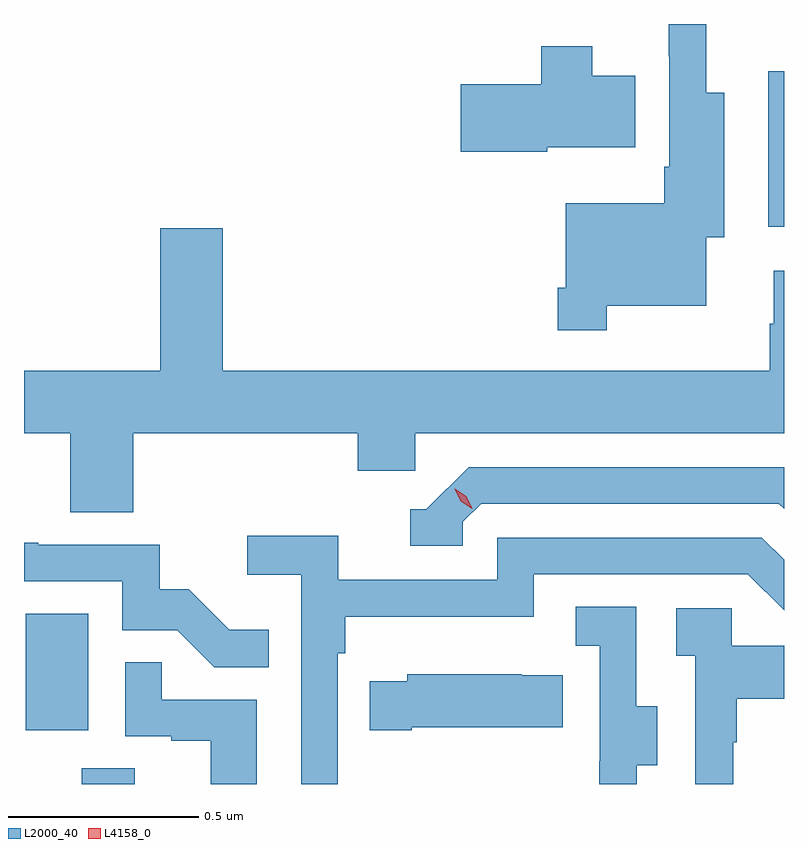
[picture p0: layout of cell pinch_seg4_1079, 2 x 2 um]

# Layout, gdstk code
import gdstk
lib = gdstk.Library(unit=1e-6, precision=1e-09)
def R(c, l, rs):  # rectangles x0, y0, x1, y1
    for r in rs: c.add(gdstk.rectangle(r[:2], r[2:], *l))
def P(c, l, *ps):  # polygons
    for p in ps: c.add(gdstk.Polygon(p, *l))
L2000_40 = (2000, 40)
L4158_0 = (4158, 0)

pinch_seg4_1079 = lib.new_cell('pinch_seg4_1079')
R(pinch_seg4_1079, L2000_40, [(836.129,763.929,836.269,763.97), (835.982,764.07,836.146,764.377), (837.935,765.395,837.977,765.805)])
P(pinch_seg4_1079, L2000_40, [(837.511,765.188),(837.772,765.188),(837.772,765.368),(837.82,765.368),(837.82,765.748),(837.773,765.748),(837.773,765.929),(837.674,765.929),(837.674,765.844),(837.675,765.844),(837.675,765.553),(837.662,765.553),(837.662,765.457),(837.402,765.457),(837.402,765.235),(837.382,765.235),(837.382,765.123),(837.511,765.123)],
  [(837.354,765.605),(837.586,765.605),(837.586,765.793),(837.472,765.793),(837.472,765.871),(837.338,765.871),(837.338,765.771),(837.126,765.771),(837.126,765.593),(837.354,765.593)],
  [(836.264,764.852),(836.855,764.852),(836.855,764.754),(837.006,764.754),(837.006,764.852),(837.977,764.852),(837.977,765.28),(837.95,765.28),(837.95,765.14),(837.939,765.14),(837.939,765.016),(836.5,765.016),(836.5,765.391),(836.336,765.391),(836.336,765.016),(835.977,765.016),(835.977,764.852),(836.099,764.852),(836.099,764.644),(836.264,764.644)],
  [(837.132,764.619),(837.18,764.667),(837.963,764.667),(837.977,764.653),(837.977,764.763),(837.147,764.763),(837.036,764.652),(836.993,764.652),(836.993,764.556),(837.132,764.556)],
  [(836.802,764.273),(836.822,764.273),(836.822,764.369),(837.318,764.369),(837.318,764.481),(837.882,764.481),(837.977,764.386),(837.977,764.519),(837.919,764.577),(837.222,764.577),(837.222,764.466),(836.804,764.466),(836.804,764.582),(836.565,764.582),(836.565,764.48),(836.706,764.48),(836.706,763.929),(836.802,763.929)],
  [(836.621,764.335),(836.517,764.335),(836.41,764.442),(836.334,764.442),(836.334,764.559),(836.015,764.559),(836.015,764.564),(835.977,764.564),(835.977,764.463),(836.235,764.463),(836.235,764.334),(836.38,764.334),(836.478,764.236),(836.621,764.236)],
  [(837.589,763.978),(837.643,763.978),(837.643,764.133),(837.588,764.133),(837.588,764.396),(837.429,764.396),(837.429,764.293),(837.492,764.293),(837.492,763.989),(837.491,763.989),(837.491,763.929),(837.589,763.929)],
  [(837.843,764.039),(837.853,764.039),(837.853,764.153),(837.977,764.153),(837.977,764.293),(837.84,764.293),(837.84,764.391),(837.693,764.391),(837.693,764.267),(837.744,764.267),(837.744,763.929),(837.843,763.929)],
  [(836.59,764.151),(836.339,764.151),(836.339,764.249),(836.244,764.249),(836.244,764.055),(836.365,764.055),(836.365,764.043),(836.468,764.043),(836.468,763.929),(836.59,763.929)],
  [(836.998,764.078),(837.395,764.078),(837.395,764.215),(837.287,764.215),(837.287,764.218),(836.985,764.218),(836.985,764.2),(836.887,764.2),(836.887,764.071),(836.998,764.071)])
P(pinch_seg4_1079, L4158_0, [(837.156,764.653),(837.126,764.673),(837.11,764.706),(837.11,764.706),(837.11,764.706),(837.141,764.686),(837.156,764.653),(837.156,764.653)])

lib.write_gds('pinch_seg4_1079.gds')
